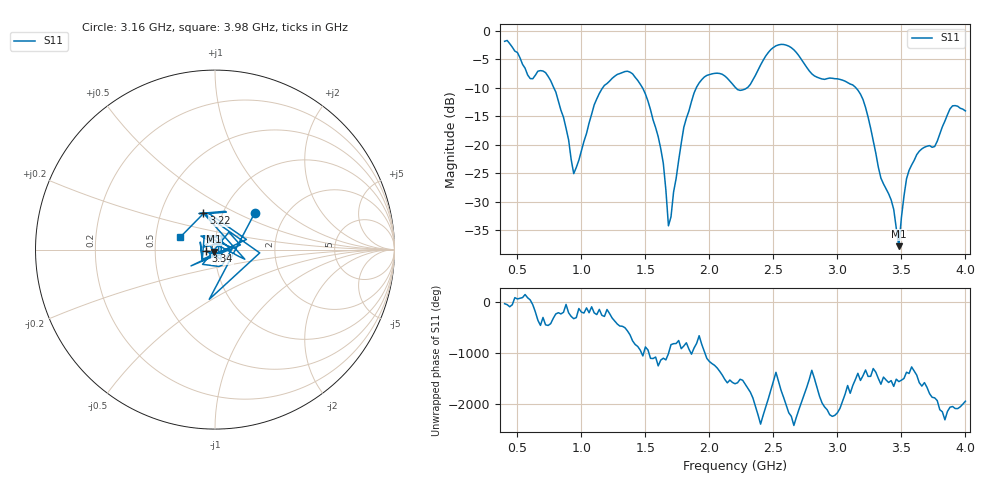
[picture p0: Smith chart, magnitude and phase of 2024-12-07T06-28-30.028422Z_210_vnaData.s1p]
!Created with skrf (http://scikit-rf.org).
# Hz S RI R 50.0
!freq ReS11 ImS11
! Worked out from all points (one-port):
!   181 points, 400 MHz to 4 GHz, reference 50 ohm
!   lowest |S11| = -37.8 dB at 3.48 GHz (marker M1), VSWR 1.03, Z = 49.4 - j1.11 ohm
!   |S11| at or under -10 dB: 784.7 MHz to 1.166 GHz (381.2 MHz wide, 39.1 % of centre); 1.478 GHz to 1.898 GHz (419.9 MHz wide, 24.9 % of centre); 3.145 GHz to end of sweep (the widest 3 of 4)
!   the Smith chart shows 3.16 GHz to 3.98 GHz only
!   S11 on the Smith chart (normalised r, x): 3.16 GHz: 1.40, +0.63; 3.22 GHz: 0.81, +0.35; 3.34 GHz: 0.90, -0.02; 3.98 GHz: 0.67, +0.10
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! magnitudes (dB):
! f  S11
! 400 MHz  -1.8
! 600 MHz  -8.4
! 720 MHz  -7.3
! 860 MHz  -15.2
! 940 MHz  -25.1
! 1.12 GHz  -11.9
! 1.3 GHz  -7.5
! 1.52 GHz  -12.3
! 1.64 GHz  -23.3
! 1.68 GHz  -34.2
! 1.76 GHz  -22.7
! 1.8 GHz  -16.9
! 1.92 GHz  -9.1
! 2.2 GHz  -9.9
! 2.52 GHz  -2.6
! 2.66 GHz  -3.3
! 2.82 GHz  -7.9
! 3.1 GHz  -9.3
! 3.16 GHz  -10.4
! 3.22 GHz  -13.4
! 3.34 GHz  -25.9
! 3.44 GHz  -31.3
! 3.48 GHz  -37.8
! 3.56 GHz  -24.5
! 3.76 GHz  -20.3
! 3.9 GHz  -13.2
! 3.98 GHz  -13.7
! 4 GHz  -14.0
